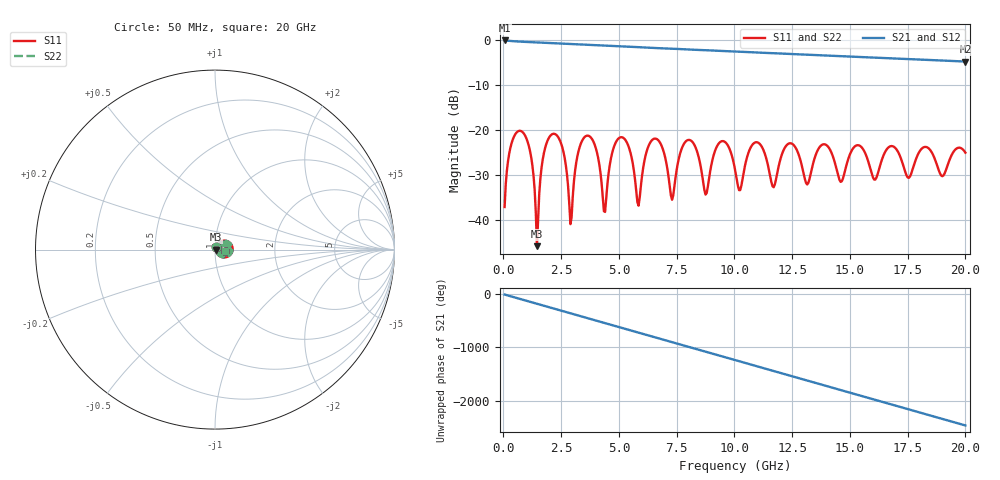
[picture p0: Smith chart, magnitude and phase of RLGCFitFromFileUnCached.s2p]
! File created by SignalIntegrity v1.4.3: Signal and Power Integrity Tools
! https://github.com/Nubis-Communications/SignalIntegrity
# MHz S MA R 50.0
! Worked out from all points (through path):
!   400 points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, 50 MHz to 20 GHz, reference 50 ohm
!   highest |S21| = -0.04 dB at 50 MHz (marker M1); lowest = -4.7 dB at 20 GHz (marker M2)
!   group delay of S21, straight-line fit = 342 ps
!   lowest |S11| = -45.8 dB at 1.45 GHz (marker M3), VSWR 1.01, Z = 50.5 - j0.0809 ohm
!   |S11| at or under -10 dB: start of sweep to end of sweep
!   |S22| runs from -45.8 to -20.1 dB; largest |S21 - S12| = 0
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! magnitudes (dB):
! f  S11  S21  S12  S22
! 50 MHz  -37.1  0.0  0.0  -37.1
! 300 MHz  -23.9  -0.2  -0.2  -23.9
! 850 MHz  -20.5  -0.3  -0.3  -20.5
! 1.25 GHz  -27.7  -0.4  -0.4  -27.7
! 1.45 GHz  -45.8  -0.5  -0.5  -45.8
! 1.9 GHz  -22.4  -0.6  -0.6  -22.4
! 2.55 GHz  -23.9  -0.8  -0.8  -23.9
! 2.9 GHz  -40.9  -0.8  -0.8  -40.9
! 3.4 GHz  -22.4  -1.0  -1.0  -22.4
! 4 GHz  -24.0  -1.1  -1.1  -24.0
! 4.4 GHz  -38.2  -1.2  -1.2  -38.2
! 4.95 GHz  -22.0  -1.3  -1.3  -22.0
! 5.85 GHz  -36.8  -1.5  -1.5  -36.8
! 6.7 GHz  -22.2  -1.8  -1.8  -22.2
! 7.3 GHz  -35.5  -1.9  -1.9  -35.5
! 7.95 GHz  -22.3  -2.0  -2.0  -22.3
! 8.75 GHz  -34.3  -2.2  -2.2  -34.3
! 9.4 GHz  -22.6  -2.4  -2.4  -22.6
! 10.05 GHz  -29.4  -2.5  -2.5  -29.4
! 13.35 GHz  -28.6  -3.2  -3.2  -28.6
! 16.7 GHz  -23.7  -4.0  -4.0  -23.7
! 20 GHz  -25.0  -4.7  -4.7  -25.0
